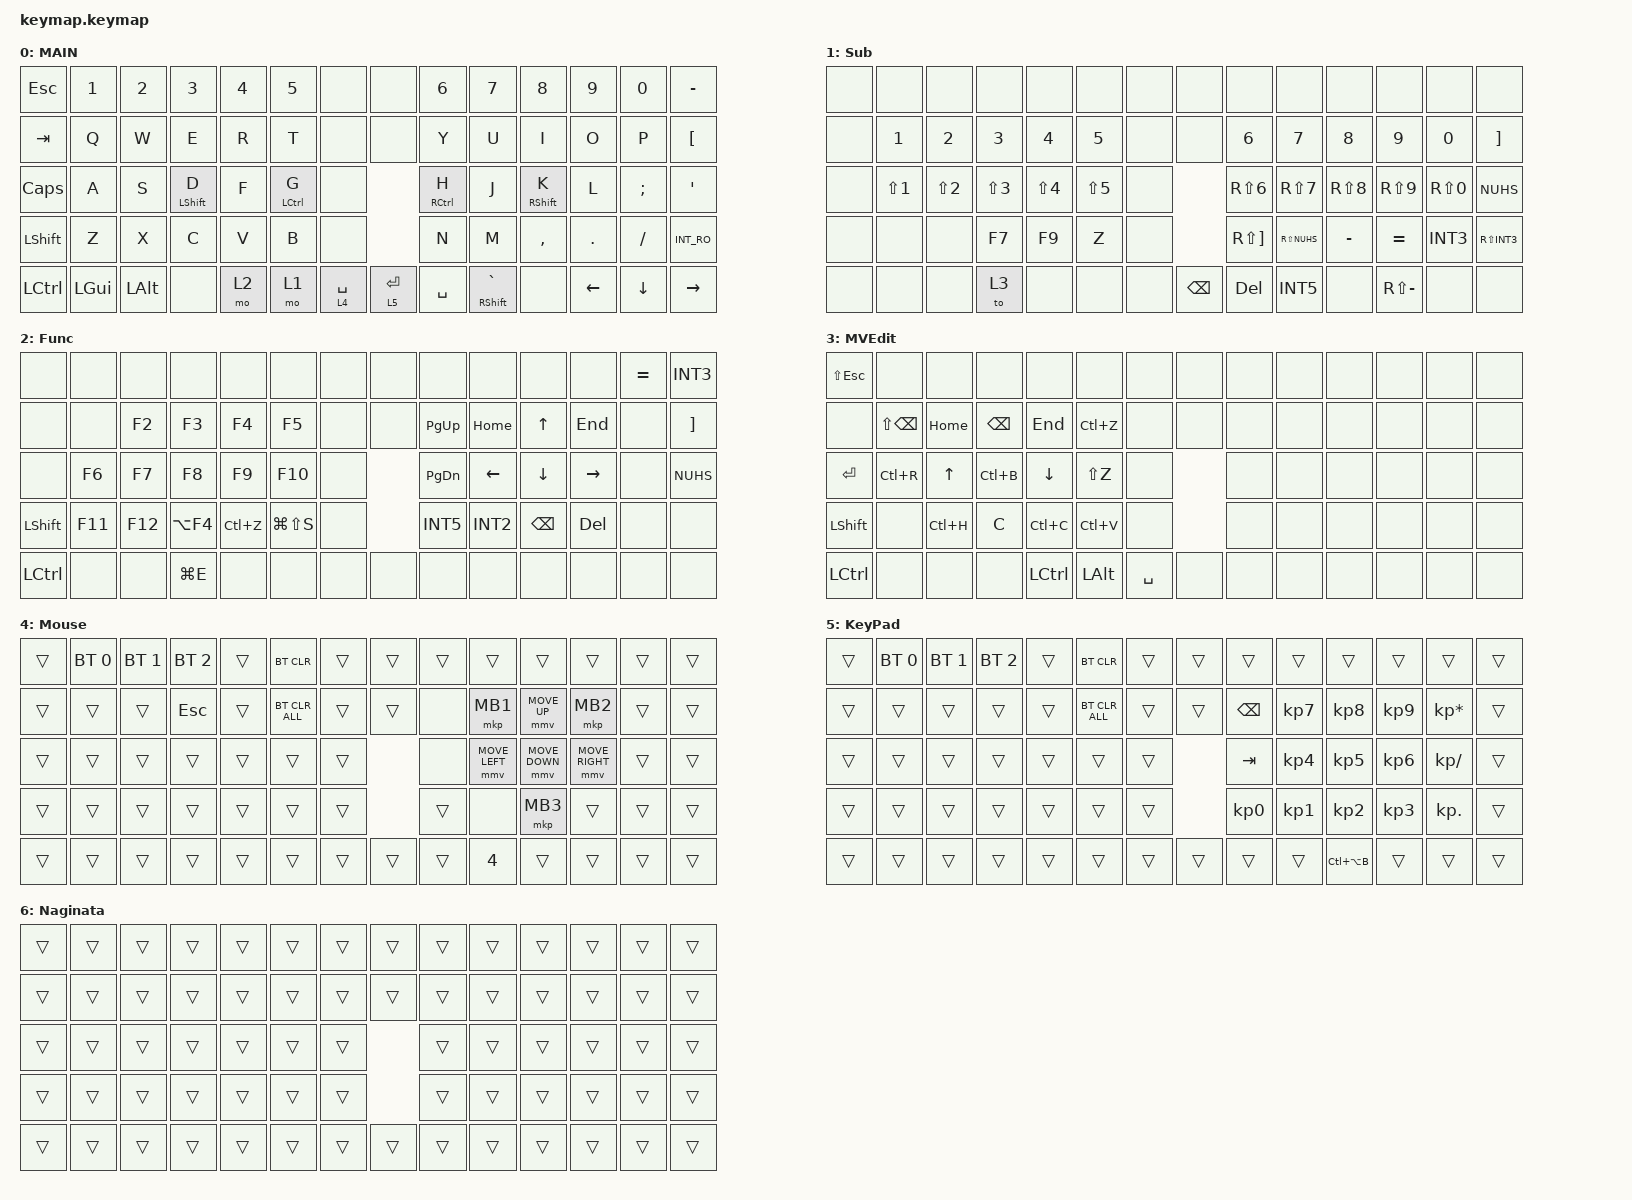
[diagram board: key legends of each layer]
#include <behaviors.dtsi>
#include <dt-bindings/zmk/bt.h>
#include <dt-bindings/zmk/keys.h>
#include <dt-bindings/zmk/pointing.h>

&lt {
    tapping-term-ms = <180>;
    quick-tap-ms = <150>;
    flavor = "balanced";
};

&mt {
    tapping-term-ms = <180>;
    quick-tap-ms = <150>;
    flavor = "balanced";
};

/ {
    combos {
        compatible = "zmk,combos";

        Main {
            bindings = <&to 0>;
            key-positions = <16 14>;
        };

        MVEdit {
            bindings = <&to 3>;
            key-positions = <28 26 27>;
        };

        SoftOff {
            bindings = <&soft_off>;
            key-positions = <0 1 10 11>;
        };

        Naginata {
            bindings = <&to 0>;
            key-positions = <6 7 8>;
        };

        Kana_Roma_Toggle {
            bindings = <&kp LA(INT_KANA)>;
            key-positions = <9 10 11>;
        };

        cbSingleQ {
            bindings = <&SingleQ>;
            key-positions = <19 20>;
            layers = <0>;
        };

        cbDoubleQ {
            bindings = <&DoubleQ>;
            key-positions = <31 32>;
            layers = <0>;
        };

        cbKakkoNami {
            bindings = <&KakkozNami>;
            key-positions = <45 46>;
            layers = <0>;
        };

        cbKakkoMaru {
            bindings = <&KakkoMaru>;
            key-positions = <20 21>;
            layers = <0>;
        };

        KakkoKagi {
            bindings = <&KakkoKagi>;
            key-positions = <32 33>;
            layers = <0>;
        };

        cbCommand {
            bindings = <&kp LA(LG(SPACE))>;
            key-positions = <58 33>;
        };

        cbLauncher {
            bindings = <&kp LA(SPACE)>;
            key-positions = <58 32>;
        };

        cbCtrlA {
            bindings = <&kp LC(A)>;
            key-positions = <25 26>;
        };

        cbCtrlC {
            bindings = <&kp LC(C)>;
            key-positions = <26 27>;
        };

        cbCtrlV {
            bindings = <&kp LC(V)>;
            key-positions = <27 28>;
        };

        cbCtrlZ {
            bindings = <&kp LC(Z)>;
            key-positions = <37 38>;
        };

        cbCtrlX {
            bindings = <&kp LC(X)>;
            key-positions = <26 28>;
        };
    };

    macros {
        KanaToLY0: KanaToLY0 {
            compatible = "zmk,behavior-macro";
            #binding-cells = <0>;
            bindings = <&kp INT2>, <&macro_wait_time 20>, <&to 0>;

            label = "KANATOLY0";
        };

        SingleQ: SingleQ {
            compatible = "zmk,behavior-macro";
            #binding-cells = <0>;
            bindings = <&kp LS(N7) &kp LS(N7) &kp LEFT>;
            label = "SINGLEQ";
        };

        DoubleQ: DoubleQ {
            compatible = "zmk,behavior-macro";
            #binding-cells = <0>;
            bindings = <&kp LS(N2) &kp LS(N2) &kp LEFT>;
            label = "DOUBLEQ";
        };

        KakkoKagi: KakkoKagi {
            compatible = "zmk,behavior-macro";
            #binding-cells = <0>;
            bindings = <&kp LS(RIGHT_BRACKET) &kp LS(NUHS) &kp LEFT>;
            label = "KAKKOKAGI";
        };

        KakkozNami: KakkozNami {
            compatible = "zmk,behavior-macro";
            #binding-cells = <0>;
            bindings = <&kp RIGHT_BRACKET &kp NUHS &kp LEFT>;
            label = "KAKKOZNAMI";
        };

        KakkoMaru: KakkoMaru {
            compatible = "zmk,behavior-macro";
            #binding-cells = <0>;
            bindings = <&kp LS(N8) &kp LS(N9) &kp LEFT>;
            label = "KAKKOMARU";
        };
    };

/ {
    behaviors {
        hm: homerow_mods {
            compatible = "zmk,behavior-hold-tap";
            label = "homerow_mods";
            bindings = <&kp>, <&kp>;

            #binding-cells = <2>;
            tapping-term-ms = <200>;
            flavor = "tap-preferred";
        };
    };

    keymap {
        compatible = "zmk,keymap";

        Main {
            bindings = <
&kp ESC    &kp N1    &kp N2    &kp N3            &kp N4  &kp N5       &none        &none        &kp NUMBER_6  &kp N7                 &kp N8             &kp N9          &kp N0    &kp MINUS
&kp TAB    &kp Q     &kp W     &kp E             &kp R   &kp T        &none        &none        &kp Y         &kp U                  &kp I              &kp O           &kp P     &kp LBKT
&kp CAPS   &kp A     &kp S     &hm LEFT_SHIFT D  &kp F   &hm LCTRL G  &none                     &hm RCTRL H   &kp J                  &hm RIGHT_SHIFT K  &kp L           &kp SEMI  &kp SQT
&kp LSHFT  &kp Z     &kp X     &kp C             &kp V   &kp B        &none                     &kp N         &kp M                  &kp COMMA          &kp DOT         &kp FSLH  &kp INT_RO
&kp LCTRL  &kp LGUI  &kp LALT  &none             &mo 2   &mo 1        &lt 4 SPACE  &lt 5 ENTER  &kp SPACE     &mt RIGHT_SHIFT GRAVE  &none              &kp LEFT_ARROW  &kp DOWN  &kp RIGHT
            >;

            label = "MAIN";
        };

        Sub {
            bindings = <
&none  &none       &none       &none       &none       &none       &none  &none          &none         &none         &none       &none          &none       &none
&none  &kp N1      &kp N2      &kp N3      &kp N4      &kp N5      &none  &none          &kp N6        &kp N7        &kp N8      &kp N9         &kp N0      &kp RBKT
&none  &kp LS(N1)  &kp LS(N2)  &kp LS(N3)  &kp LS(N4)  &kp LS(N5)  &none                 &kp RS(N6)    &kp RS(N7)    &kp RS(N8)  &kp RS(N9)     &kp RS(N0)  &kp NUHS
&none  &none       &none       &kp F7      &kp F9      &kp Z       &none                 &kp RS(RBKT)  &kp RS(NUHS)  &kp MINUS   &kp EQUAL      &kp INT3    &kp RS(INT3)
&none  &none       &none       &to 3       &none       &none       &none  &kp BACKSPACE  &kp DELETE    &kp INT5      &none       &kp RS(MINUS)  &none       &none
            >;

            label = "Sub";
        };

        Func {
            bindings = <
&none      &none    &none    &none       &none      &none          &none  &none  &none          &none     &none          &none       &kp EQUAL  &kp INT3
&none      &none    &kp F2   &kp F3      &kp F4     &kp F5         &none  &none  &kp PG_UP      &kp HOME  &kp UP         &kp END     &none      &kp RBKT
&none      &kp F6   &kp F7   &kp F8      &kp F9     &kp F10        &none         &kp PAGE_DOWN  &kp LEFT  &kp DOWN       &kp RIGHT   &none      &kp NUHS
&kp LSHFT  &kp F11  &kp F12  &kp LA(F4)  &kp LC(Z)  &kp LG(LS(S))  &none         &kp INT5       &kp INT2  &kp BACKSPACE  &kp DELETE  &none      &none
&kp LCTRL  &none    &none    &kp LG(E)   &none      &none          &none  &none  &none          &none     &none          &none       &none      &none
            >;

            label = "Func";
        };

        MVEdit {
            bindings = <
&kp LS(ESCAPE)    &none              &none         &none          &none             &none         &none      &none  &none  &none  &none  &none  &none  &none
&none             &kp LS(BACKSPACE)  &kp HOME      &kp BACKSPACE  &kp END           &kp LC(Z)     &none      &none  &none  &none  &none  &none  &none  &none
&kp ENTER         &kp LC(R)          &kp UP_ARROW  &kp LC(B)      &kp DOWN          &kp LS(Z)     &none             &none  &none  &none  &none  &none  &none
&kp LEFT_SHIFT    &none              &kp LC(H)     &kp C          &kp LC(C)         &kp LC(V)     &none             &none  &none  &none  &none  &none  &none
&kp LEFT_CONTROL  &none              &none         &none          &kp LEFT_CONTROL  &kp LEFT_ALT  &kp SPACE  &none  &none  &none  &none  &none  &none  &none
            >;

            label = "MVEdit";
        };

        Mouse {
            bindings = <
&trans  &bt BT_SEL 0  &bt BT_SEL 1  &bt BT_SEL 2  &trans  &bt BT_CLR      &trans  &trans  &trans  &trans          &trans          &trans           &trans  &trans
&trans  &trans        &trans        &kp ESCAPE    &trans  &bt BT_CLR_ALL  &trans  &trans  &none   &mkp MB1        &mmv MOVE_UP    &mkp MB2         &trans  &trans
&trans  &trans        &trans        &trans        &trans  &trans          &trans          &none   &mmv MOVE_LEFT  &mmv MOVE_DOWN  &mmv MOVE_RIGHT  &trans  &trans
&trans  &trans        &trans        &trans        &trans  &trans          &trans          &trans  &none           &mkp MB3        &trans           &trans  &trans
&trans  &trans        &trans        &trans        &trans  &trans          &trans  &trans  &trans  &kp N4          &trans          &trans           &trans  &trans
            >;

            label = "Mouse";
        };

        KeyPad {
            bindings = <
&trans  &bt BT_SEL 0  &bt BT_SEL 1  &bt BT_SEL 2  &trans  &bt BT_CLR      &trans  &trans  &trans           &trans           &trans         &trans     &trans           &trans
&trans  &trans        &trans        &trans        &trans  &bt BT_CLR_ALL  &trans  &trans  &kp BACKSPACE    &kp KP_N7        &kp KP_N8      &kp KP_N9  &kp KP_MULTIPLY  &trans
&trans  &trans        &trans        &trans        &trans  &trans          &trans          &kp TAB          &kp KP_N4        &kp KP_N5      &kp KP_N6  &kp KP_SLASH     &trans
&trans  &trans        &trans        &trans        &trans  &trans          &trans          &kp KP_NUMBER_0  &kp KP_NUMBER_1  &kp KP_N2      &kp KP_N3  &kp KP_DOT       &trans
&trans  &trans        &trans        &trans        &trans  &trans          &trans  &trans  &trans           &trans           &kp LC(LA(B))  &trans     &trans           &trans
            >;

            label = "KeyPad";
        };

        Naginata {
            bindings = <
&trans  &trans  &trans  &trans  &trans  &trans  &trans  &trans  &trans  &trans  &trans  &trans  &trans  &trans
&trans  &trans  &trans  &trans  &trans  &trans  &trans  &trans  &trans  &trans  &trans  &trans  &trans  &trans
&trans  &trans  &trans  &trans  &trans  &trans  &trans          &trans  &trans  &trans  &trans  &trans  &trans
&trans  &trans  &trans  &trans  &trans  &trans  &trans          &trans  &trans  &trans  &trans  &trans  &trans
&trans  &trans  &trans  &trans  &trans  &trans  &trans  &trans  &trans  &trans  &trans  &trans  &trans  &trans
            >;

            label = "Naginata";
        };
    };
};
